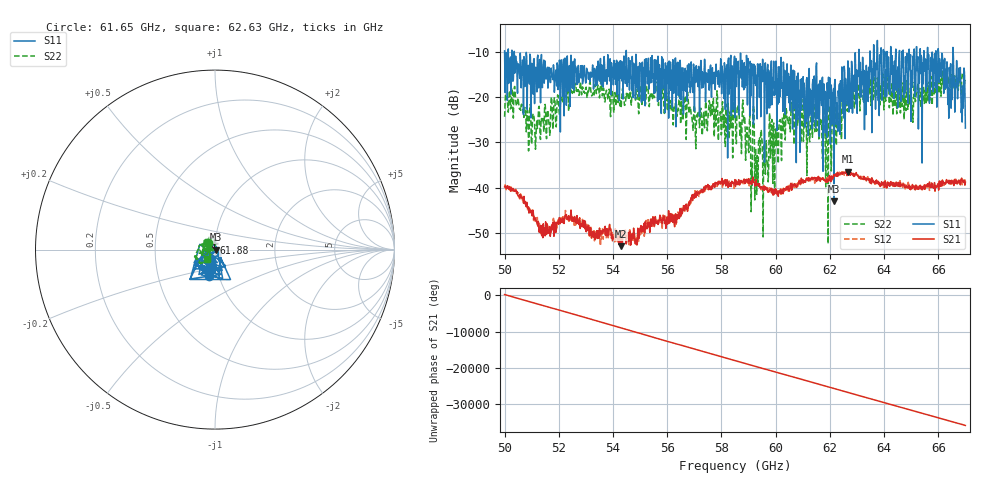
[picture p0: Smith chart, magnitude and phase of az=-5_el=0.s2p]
!Created with skrf (http://scikit-rf.org).
# GHz S RI R 50.0
!freq ReS11 ImS11 ReS21 ImS21 ReS12 ImS12 ReS22 ImS22
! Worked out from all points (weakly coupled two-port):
!   1001 points, 50 GHz to 67 GHz, reference 50 ohm
!   highest |S21| = -36.45 dB at 62.66 GHz (marker M1); lowest = -52.9 dB at 54.28 GHz (marker M2)
!   lowest |S11| = -43.0 dB at 62.16 GHz (marker M3), VSWR 1.01, Z = 50.7 - j0.129 ohm
!   |S11| at or under -10 dB: 50.36 GHz to 54.49 GHz (4.13 GHz wide, 7.88 % of centre); 54.49 GHz to 63.07 GHz (8.582 GHz wide, 14.6 % of centre); 66 GHz to 66.54 GHz (534.1 MHz wide, 0.806 % of centre) (the widest 3 of 26)
!   |S22| runs from -52.3 to -14.0 dB; largest |S21 - S12| = 0.0027
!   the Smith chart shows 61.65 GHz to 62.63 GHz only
!   S11 on the Smith chart (normalised r, x): 61.65 GHz: 0.90, -0.27; 61.88 GHz: 0.99, +0.07; 62.63 GHz: 0.94, -0.21
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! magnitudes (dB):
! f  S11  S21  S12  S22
! 50 GHz  -9.9  -39.8  -39.8  -24.4
! 50.42 GHz  -13.4  -40.6  -40.7  -21.6
! 51.07 GHz  -11.8  -46.2  -47.2  -23.9
! 52.84 GHz  -14.1  -48.1  -48.2  -19.5
! 54.28 GHz  -15.8  -52.9  -51.6  -20.8
! 55.68 GHz  -13.4  -47.2  -47.5  -21.9
! 56.99 GHz  -14.9  -41.7  -42.1  -22.2
! 58.5 GHz  -24.6  -38.2  -38.9  -24.3
! 58.86 GHz  -18.0  -39.1  -38.5  -24.3
! 59.32 GHz  -24.8  -39.3  -39.3  -32.9
! 60.64 GHz  -14.1  -39.6  -39.6  -22.5
! 61.34 GHz  -27.0  -37.7  -37.7  -25.8
! 61.65 GHz  -16.4  -38.6  -38.3  -25.5
! 61.88 GHz  -28.9  -38.1  -38.6  -23.2
! 62.16 GHz  -43.0  -37.5  -37.2  -28.5
! 62.63 GHz  -19.0  -37.3  -37.1  -22.9
! 62.66 GHz  -12.1  -36.4  -36.6  -20.7
! 64.18 GHz  -18.6  -38.9  -39.4  -18.6
! 66.08 GHz  -15.2  -39.7  -39.3  -15.6
! 66.42 GHz  -15.1  -38.4  -39.3  -16.4
! 66.75 GHz  -17.2  -38.6  -38.8  -18.3
! 67 GHz  -26.9  -38.8  -38.8  -15.7
